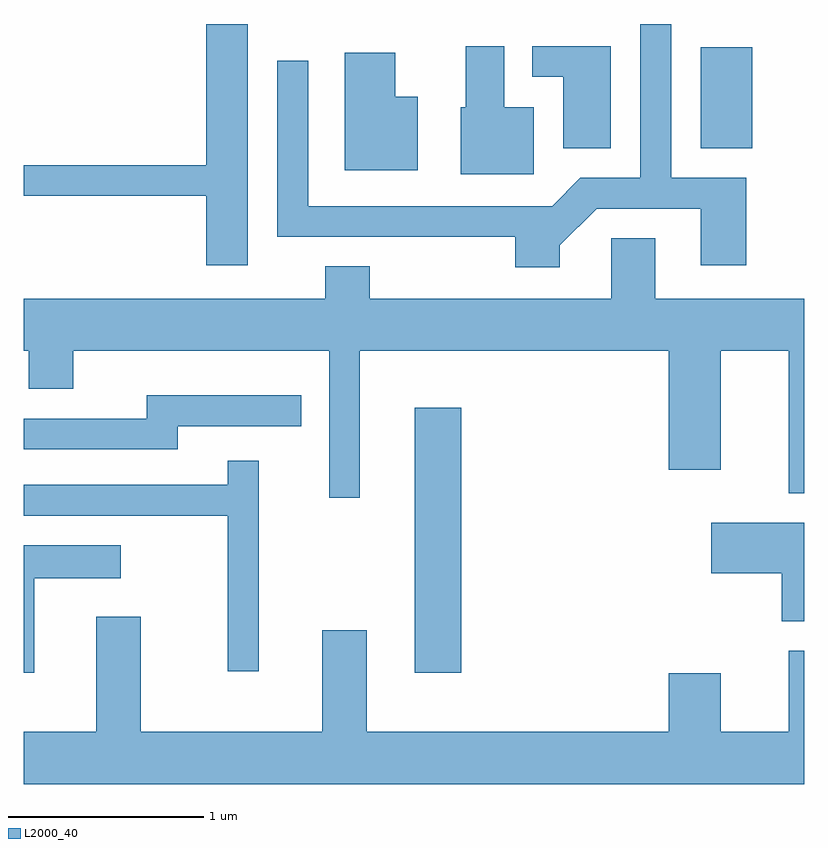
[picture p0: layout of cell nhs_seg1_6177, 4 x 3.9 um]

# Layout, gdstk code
import gdstk
lib = gdstk.Library(unit=1e-6, precision=1e-09)
def R(c, l, rs):  # rectangles x0, y0, x1, y1
    for r in rs: c.add(gdstk.rectangle(r[:2], r[2:], *l))
def P(c, l, *ps):  # polygons
    for p in ps: c.add(gdstk.Polygon(p, *l))
L2000_40 = (2000, 40)

nhs_seg1_6177 = lib.new_cell('nhs_seg1_6177')
R(nhs_seg1_6177, L2000_40, [(373.616,882.386,373.854,883.744), (375.081,885.076,375.344,885.594)])
P(nhs_seg1_6177, L2000_40, [(372.759,885.712),(372.546,885.712),(372.546,884.989),(371.611,884.989),(371.611,884.831),(372.546,884.831),(372.546,884.476),(372.759,884.476)],
  [(374.359,884.579),(374.547,884.766),(375.081,884.766),(375.081,884.476),(375.314,884.476),(375.314,884.924),(374.929,884.924),(374.929,885.712),(374.771,885.712),(374.771,884.924),(374.464,884.924),(374.319,884.779),(373.069,884.779),(373.069,885.523),(372.911,885.523),(372.911,884.621),(374.131,884.621),(374.131,884.466),(374.359,884.466)],
  [(374.224,885.284),(374.074,885.284),(374.074,885.599),(373.876,885.599),(373.876,885.284),(373.851,885.284),(373.851,884.941),(374.224,884.941)],
  [(374.619,885.599),(374.218,885.599),(374.218,885.441),(374.376,885.441),(374.376,885.076),(374.619,885.076)],
  [(373.629,885.339),(373.514,885.339),(373.514,885.564),(373.256,885.564),(373.256,884.961),(373.629,884.961)],
  [(374.849,884.614),(374.621,884.614),(374.621,884.304),(373.384,884.304),(373.384,884.469),(373.156,884.469),(373.156,884.304),(371.611,884.304),(371.611,884.036),(371.636,884.036),(371.636,883.841),(371.864,883.841),(371.864,884.036),(373.176,884.036),(373.176,883.283),(373.334,883.283),(373.334,884.036),(374.916,884.036),(374.916,883.426),(375.184,883.426),(375.184,884.036),(375.531,884.036),(375.531,883.306),(375.611,883.306),(375.611,884.304),(374.849,884.304)],
  [(372.399,883.651),(373.033,883.651),(373.033,883.809),(372.241,883.809),(372.241,883.689),(371.611,883.689),(371.611,883.531),(372.399,883.531)],
  [(372.814,883.473),(372.656,883.473),(372.656,883.349),(371.611,883.349),(371.611,883.191),(372.656,883.191),(372.656,882.393),(372.814,882.393)],
  [(375.611,883.154),(375.136,883.154),(375.136,882.896),(375.496,882.896),(375.496,882.651),(375.611,882.651)],
  [(371.664,882.871),(372.108,882.871),(372.108,883.039),(371.611,883.039),(371.611,882.386),(371.664,882.386)],
  [(375.611,882.499),(375.531,882.499),(375.531,882.084),(375.184,882.084),(375.184,882.384),(374.916,882.384),(374.916,882.084),(373.369,882.084),(373.369,882.604),(373.141,882.604),(373.141,882.084),(372.209,882.084),(372.209,882.674),(371.981,882.674),(371.981,882.084),(371.611,882.084),(371.611,881.816),(375.611,881.816)])

lib.write_gds('nhs_seg1_6177.gds')
